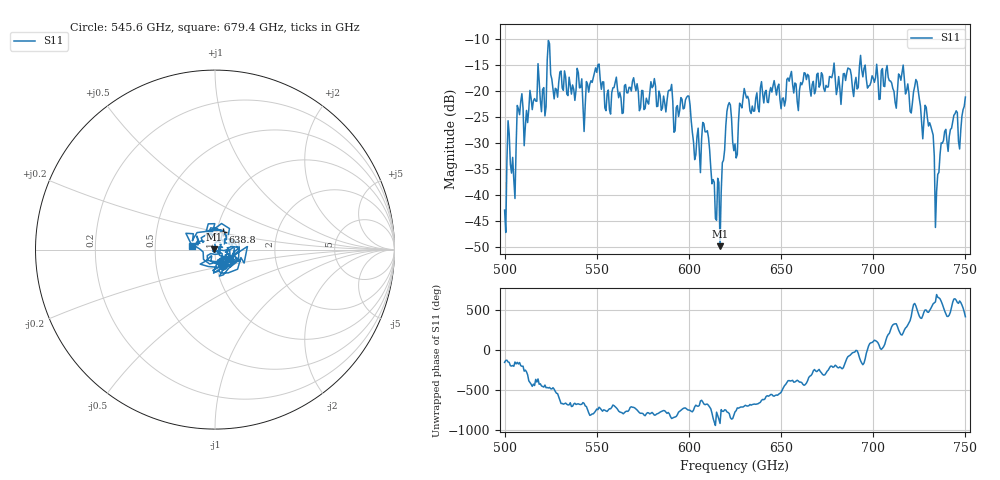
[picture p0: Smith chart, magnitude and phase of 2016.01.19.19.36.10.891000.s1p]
!Created with skrf (http://scikit-rf.org).
# GHz S RI R 50.0
!freq ReS11 ImS11
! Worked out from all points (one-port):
!   401 points, 500 GHz to 750 GHz, reference 50 ohm
!   lowest |S11| = -49.9 dB at 616.9 GHz (marker M1), VSWR 1.01, Z = 49.7 + j0.0926 ohm
!   |S11| at or under -10 dB: start of sweep to end of sweep
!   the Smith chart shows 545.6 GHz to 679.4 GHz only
!   S11 on the Smith chart (normalised r, x): 545.6 GHz: 1.07, -0.19; 638.8 GHz: 1.07, +0.21; 679.4 GHz: 0.77, +0.04
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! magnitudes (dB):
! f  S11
! 500 GHz  -43.0
! 502.5 GHz  -28.3
! 505 GHz  -37.2
! 508.1 GHz  -24.6
! 521.2 GHz  -19.4
! 524.4 GHz  -10.9
! 527.5 GHz  -19.5
! 531.2 GHz  -19.5
! 545.6 GHz  -20.2
! 562.5 GHz  -20.3
! 593.8 GHz  -22.8
! 599.4 GHz  -21.0
! 605 GHz  -27.2
! 608.8 GHz  -27.9
! 613.8 GHz  -37.6
! 616.9 GHz  -49.9
! 621.2 GHz  -22.8
! 625 GHz  -30.2
! 628.8 GHz  -23.3
! 638.8 GHz  -19.4
! 656.2 GHz  -18.7
! 679.4 GHz  -17.7
! 687.5 GHz  -15.8
! 718.8 GHz  -18.7
! 729.4 GHz  -25.2
! 734.4 GHz  -39.4
! 738.1 GHz  -29.5
! 750 GHz  -21.2
